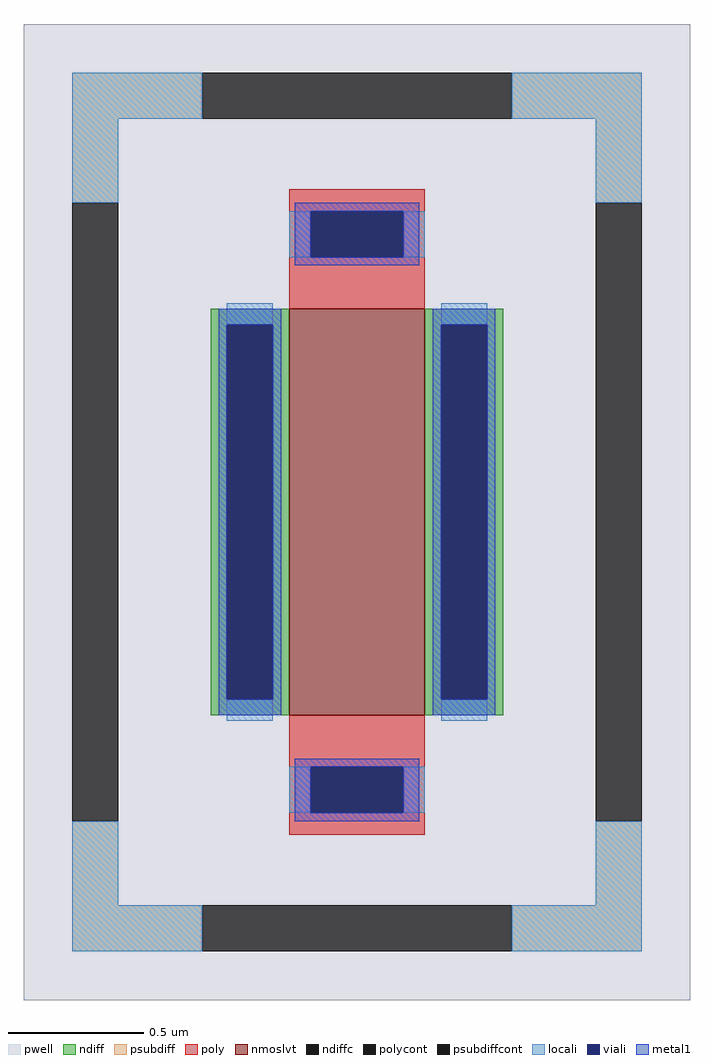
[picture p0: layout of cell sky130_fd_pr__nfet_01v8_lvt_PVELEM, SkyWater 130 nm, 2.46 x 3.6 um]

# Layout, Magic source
magic
tech sky130A
<< pwell >>
rect -123 -180 123 180
<< nmoslvt >>
rect -25 -75 25 75
<< ndiff >>
rect -54 69 -25 75
rect -54 -69 -48 69
rect -31 -69 -25 69
rect -54 -75 -25 -69
rect 25 69 54 75
rect 25 -69 31 69
rect 48 -69 54 69
rect 25 -75 54 -69
<< ndiffc >>
rect -48 -69 -31 69
rect 31 -69 48 69
<< psubdiff >>
rect -105 145 -57 162
rect 57 145 105 162
rect -105 114 -88 145
rect 88 114 105 145
rect -105 -145 -88 -114
rect 88 -145 105 -114
rect -105 -162 -57 -145
rect 57 -162 105 -145
<< psubdiffcont >>
rect -57 145 57 162
rect -105 -114 -88 114
rect 88 -114 105 114
rect -57 -162 57 -145
<< poly >>
rect -25 111 25 119
rect -25 94 -17 111
rect 17 94 25 111
rect -25 75 25 94
rect -25 -94 25 -75
rect -25 -111 -17 -94
rect 17 -111 25 -94
rect -25 -119 25 -111
<< polycont >>
rect -17 94 17 111
rect -17 -111 17 -94
<< locali >>
rect -105 145 -57 162
rect 57 145 105 162
rect -105 114 -88 145
rect 88 114 105 145
rect -25 94 -17 111
rect 17 94 25 111
rect -48 69 -31 77
rect -48 -77 -31 -69
rect 31 69 48 77
rect 31 -77 48 -69
rect -25 -111 -17 -94
rect 17 -111 25 -94
rect -105 -145 -88 -114
rect 88 -145 105 -114
rect -105 -162 -57 -145
rect 57 -162 105 -145
<< viali >>
rect -17 94 17 111
rect -48 -69 -31 69
rect 31 -69 48 69
rect -17 -111 17 -94
<< metal1 >>
rect -23 111 23 114
rect -23 94 -17 111
rect 17 94 23 111
rect -23 91 23 94
rect -51 69 -28 75
rect -51 -69 -48 69
rect -31 -69 -28 69
rect -51 -75 -28 -69
rect 28 69 51 75
rect 28 -69 31 69
rect 48 -69 51 69
rect 28 -75 51 -69
rect -23 -94 23 -91
rect -23 -111 -17 -94
rect 17 -111 23 -94
rect -23 -114 23 -111
<< properties >>
string FIXED_BBOX -96 -153 96 153
string gencell sky130_fd_pr__nfet_01v8_lvt
string library sky130
string parameters w 1.5 l 0.5 m 1 nf 1 diffcov 100 polycov 100 guard 1 glc 1 grc 1 gtc 1 gbc 1 tbcov 100 rlcov 100 topc 1 botc 1 poverlap 0 doverlap 1 lmin 0.15 wmin 0.42 compatible {sky130_fd_pr__nfet_01v8 sky130_fd_pr__nfet_01v8_lvt  sky130_fd_bs_flash__special_sonosfet_star  sky130_fd_pr__nfet_g5v0d10v5 sky130_fd_pr__nfet_05v0_nvt  sky130_fd_pr__nfet_03v3_nvt} full_metal 1 viasrc 100 viadrn 100 viagate 100 viagb 0 viagr 0 viagl 0 viagt 0
<< end >>
